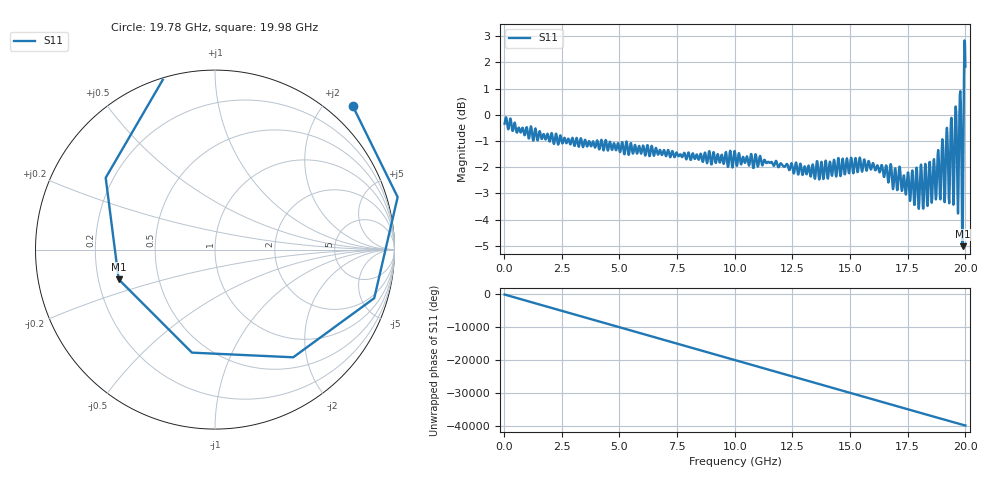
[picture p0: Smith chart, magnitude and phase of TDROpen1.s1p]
! File created by SignalIntegrity v1.3.3: Signal and Power Integrity Tools
! https://github.com/TeledyneLeCroy/SignalIntegrity
# MHz S MA R 50.0
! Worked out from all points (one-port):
!   1000 points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, 20 MHz to 20 GHz, reference 50 ohm
!   lowest |S11| = -5.0 dB at 19.88 GHz (marker M1), VSWR 3.56, Z = 14.3 - j6.94 ohm
!   |S11| at or under -10 dB: nowhere
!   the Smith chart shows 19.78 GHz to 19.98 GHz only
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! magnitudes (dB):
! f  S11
! 20 MHz  -0.3
! 2.52 GHz  -1.1
! 5.02 GHz  -1.4
! 7.52 GHz  -1.5
! 10.02 GHz  -1.5
! 12.52 GHz  -2.1
! 15.02 GHz  -1.7
! 16.3 GHz  -2.2
! 17.52 GHz  -2.2
! 18.16 GHz  -3.6
! 18.26 GHz  -1.9
! 18.54 GHz  -3.4
! 18.64 GHz  -1.7
! 18.74 GHz  -3.1
! 18.82 GHz  -1.3
! 18.92 GHz  -3.2
! 19.02 GHz  -1.0
! 19.1 GHz  -3.3
! 19.2 GHz  -0.5
! 19.3 GHz  -3.4
! 19.4 GHz  -0.1
! 19.5 GHz  -3.2
! 19.58 GHz  0.3
! 19.7 GHz  -2.9
! 19.78 GHz  0.9
! 19.88 GHz  -5.0
! 19.94 GHz  1.6
! 20 GHz  1.8
